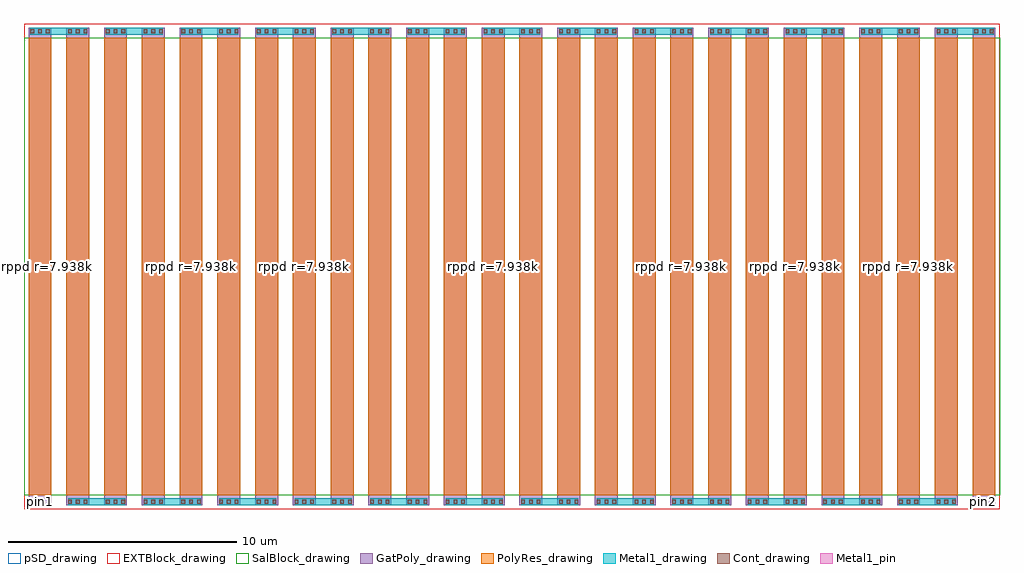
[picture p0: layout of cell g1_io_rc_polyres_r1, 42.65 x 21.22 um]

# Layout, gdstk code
import gdstk
lib = gdstk.Library(unit=1e-6, precision=1e-09)
def R(c, l, rs):  # rectangles x0, y0, x1, y1
    for r in rs: c.add(gdstk.rectangle(r[:2], r[2:], *l))
def A(c, l, x, y, w, h, nx, ny, dx, dy):  # array of equal rectangles
    R(c, l, [(x+i*dx, y+j*dy, x+i*dx+w, y+j*dy+h) for i in range(nx) for j in range(ny)])
GatPoly_drawing = (5, 0)
Cont_drawing = (6, 0)
Metal1_drawing = (8, 0)
Metal1_pin = (8, 2)
pSD_drawing = (14, 0)
SalBlock_drawing = (28, 0)
EXTBlock_drawing = (111, 0)
PolyRes_drawing = (128, 0)

g1_io_rc_polyres_r1 = lib.new_cell('g1_io_rc_polyres_r1')
A(g1_io_rc_polyres_r1, GatPoly_drawing, 0, 0, 1, 20.86, 26, 1, 1.65, 0)
A(g1_io_rc_polyres_r1, Cont_drawing, 0.08, 0.07, 0.16, 0.16, 3, 2, 0.34, 20.56)
A(g1_io_rc_polyres_r1, Cont_drawing, 1.73, 0.07, 0.16, 0.16, 3, 2, 0.34, 20.56)
A(g1_io_rc_polyres_r1, Cont_drawing, 3.38, 0.07, 0.16, 0.16, 3, 2, 0.34, 20.56)
A(g1_io_rc_polyres_r1, Cont_drawing, 5.03, 0.07, 0.16, 0.16, 3, 2, 0.34, 20.56)
A(g1_io_rc_polyres_r1, Cont_drawing, 6.68, 0.07, 0.16, 0.16, 3, 2, 0.34, 20.56)
A(g1_io_rc_polyres_r1, Cont_drawing, 8.33, 0.07, 0.16, 0.16, 3, 2, 0.34, 20.56)
A(g1_io_rc_polyres_r1, Cont_drawing, 9.98, 0.07, 0.16, 0.16, 3, 2, 0.34, 20.56)
A(g1_io_rc_polyres_r1, Cont_drawing, 11.63, 0.07, 0.16, 0.16, 3, 2, 0.34, 20.56)
A(g1_io_rc_polyres_r1, Cont_drawing, 13.28, 0.07, 0.16, 0.16, 3, 2, 0.34, 20.56)
A(g1_io_rc_polyres_r1, Cont_drawing, 14.93, 0.07, 0.16, 0.16, 3, 2, 0.34, 20.56)
A(g1_io_rc_polyres_r1, Cont_drawing, 16.58, 0.07, 0.16, 0.16, 3, 2, 0.34, 20.56)
A(g1_io_rc_polyres_r1, Cont_drawing, 18.23, 0.07, 0.16, 0.16, 3, 2, 0.34, 20.56)
A(g1_io_rc_polyres_r1, Cont_drawing, 19.88, 0.07, 0.16, 0.16, 3, 2, 0.34, 20.56)
A(g1_io_rc_polyres_r1, Cont_drawing, 21.53, 0.07, 0.16, 0.16, 3, 2, 0.34, 20.56)
A(g1_io_rc_polyres_r1, Cont_drawing, 23.18, 0.07, 0.16, 0.16, 3, 2, 0.34, 20.56)
A(g1_io_rc_polyres_r1, Cont_drawing, 24.83, 0.07, 0.16, 0.16, 3, 2, 0.34, 20.56)
A(g1_io_rc_polyres_r1, Cont_drawing, 26.48, 0.07, 0.16, 0.16, 3, 2, 0.34, 20.56)
A(g1_io_rc_polyres_r1, Cont_drawing, 28.13, 0.07, 0.16, 0.16, 3, 2, 0.34, 20.56)
A(g1_io_rc_polyres_r1, Cont_drawing, 29.78, 0.07, 0.16, 0.16, 3, 2, 0.34, 20.56)
A(g1_io_rc_polyres_r1, Cont_drawing, 31.43, 0.07, 0.16, 0.16, 3, 2, 0.34, 20.56)
A(g1_io_rc_polyres_r1, Cont_drawing, 33.08, 0.07, 0.16, 0.16, 3, 2, 0.34, 20.56)
A(g1_io_rc_polyres_r1, Cont_drawing, 34.73, 0.07, 0.16, 0.16, 3, 2, 0.34, 20.56)
A(g1_io_rc_polyres_r1, Cont_drawing, 36.38, 0.07, 0.16, 0.16, 3, 2, 0.34, 20.56)
A(g1_io_rc_polyres_r1, Cont_drawing, 38.03, 0.07, 0.16, 0.16, 3, 2, 0.34, 20.56)
A(g1_io_rc_polyres_r1, Cont_drawing, 39.68, 0.07, 0.16, 0.16, 3, 2, 0.34, 20.56)
A(g1_io_rc_polyres_r1, Cont_drawing, 41.33, 0.07, 0.16, 0.16, 3, 2, 0.34, 20.56)
A(g1_io_rc_polyres_r1, Metal1_drawing, 1.73, -0.01, 2.49, 0.32, 12, 1, 3.3, 0)
A(g1_io_rc_polyres_r1, Metal1_drawing, 0.08, 20.55, 2.49, 0.32, 13, 1, 3.3, 0)
R(g1_io_rc_polyres_r1, Metal1_drawing, [(0.08,-0.01,0.92,0.31), (41.33,-0.01,42.17,0.31)])
R(g1_io_rc_polyres_r1, Metal1_pin, [(0.08,-0.01,0.92,0.31), (41.33,-0.01,42.17,0.31)])
R(g1_io_rc_polyres_r1, pSD_drawing, [(-0.18,-0.18,42.43,21.04)])
R(g1_io_rc_polyres_r1, SalBlock_drawing, [(-0.2,0.43,42.45,20.43)])
R(g1_io_rc_polyres_r1, EXTBlock_drawing, [(-0.18,-0.18,42.43,21.04)])
A(g1_io_rc_polyres_r1, PolyRes_drawing, 0, 0.43, 1, 20, 26, 1, 1.65, 0)
g1_io_rc_polyres_r1.add(gdstk.Label('rppd r=7.938k', (33.5,10.43), layer=63, texttype=0))
g1_io_rc_polyres_r1.add(gdstk.Label('rppd r=7.938k', (7.1,10.43), layer=63, texttype=0))
g1_io_rc_polyres_r1.add(gdstk.Label('rppd r=7.938k', (36.8,10.43), layer=63, texttype=0))
g1_io_rc_polyres_r1.add(gdstk.Label('rppd r=7.938k', (10.4,10.43), layer=63, texttype=0))
g1_io_rc_polyres_r1.add(gdstk.Label('rppd r=7.938k', (30.2,10.43), layer=63, texttype=0))
g1_io_rc_polyres_r1.add(gdstk.Label('rppd r=7.938k', (0.5,10.43), layer=63, texttype=0))
g1_io_rc_polyres_r1.add(gdstk.Label('rppd r=7.938k', (28.55,10.43), layer=63, texttype=0))
g1_io_rc_polyres_r1.add(gdstk.Label('rppd r=7.938k', (3.8,10.43), layer=63, texttype=0))
g1_io_rc_polyres_r1.add(gdstk.Label('rppd r=7.938k', (20.3,10.43), layer=63, texttype=0))
g1_io_rc_polyres_r1.add(gdstk.Label('rppd r=7.938k', (21.95,10.43), layer=63, texttype=0))
g1_io_rc_polyres_r1.add(gdstk.Label('rppd r=7.938k', (23.6,10.43), layer=63, texttype=0))
g1_io_rc_polyres_r1.add(gdstk.Label('rppd r=7.938k', (31.85,10.43), layer=63, texttype=0))
g1_io_rc_polyres_r1.add(gdstk.Label('rppd r=7.938k', (12.05,10.43), layer=63, texttype=0))
g1_io_rc_polyres_r1.add(gdstk.Label('rppd r=7.938k', (8.75,10.43), layer=63, texttype=0))
g1_io_rc_polyres_r1.add(gdstk.Label('rppd r=7.938k', (35.15,10.43), layer=63, texttype=0))
g1_io_rc_polyres_r1.add(gdstk.Label('rppd r=7.938k', (38.45,10.43), layer=63, texttype=0))
g1_io_rc_polyres_r1.add(gdstk.Label('rppd r=7.938k', (41.75,10.43), layer=63, texttype=0))
g1_io_rc_polyres_r1.add(gdstk.Label('rppd r=7.938k', (2.15,10.43), layer=63, texttype=0))
g1_io_rc_polyres_r1.add(gdstk.Label('rppd r=7.938k', (17,10.43), layer=63, texttype=0))
g1_io_rc_polyres_r1.add(gdstk.Label('rppd r=7.938k', (15.35,10.43), layer=63, texttype=0))
g1_io_rc_polyres_r1.add(gdstk.Label('rppd r=7.938k', (40.1,10.43), layer=63, texttype=0))
g1_io_rc_polyres_r1.add(gdstk.Label('rppd r=7.938k', (25.25,10.43), layer=63, texttype=0))
g1_io_rc_polyres_r1.add(gdstk.Label('rppd r=7.938k', (13.7,10.43), layer=63, texttype=0))
g1_io_rc_polyres_r1.add(gdstk.Label('rppd r=7.938k', (18.65,10.43), layer=63, texttype=0))
g1_io_rc_polyres_r1.add(gdstk.Label('rppd r=7.938k', (26.9,10.43), layer=63, texttype=0))
g1_io_rc_polyres_r1.add(gdstk.Label('rppd r=7.938k', (5.45,10.43), layer=63, texttype=0))
g1_io_rc_polyres_r1.add(gdstk.Label('pin2', (41.75,0.15), layer=8, texttype=25))
g1_io_rc_polyres_r1.add(gdstk.Label('pin1', (0.5,0.15), layer=8, texttype=25))

lib.write_gds('g1_io_rc_polyres_r1.gds')
